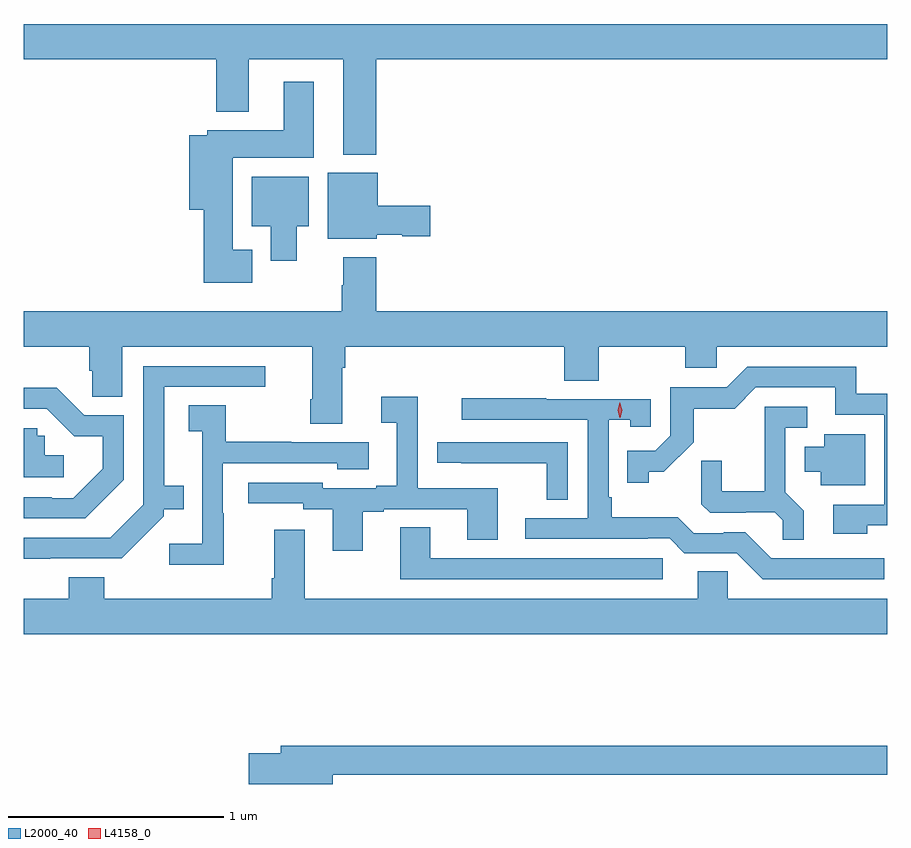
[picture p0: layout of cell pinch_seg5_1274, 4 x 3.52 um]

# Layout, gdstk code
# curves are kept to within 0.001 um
import gdstk
lib = gdstk.Library(unit=1e-6, precision=1e-09)
def P(c, l, *ps):  # polygons
    for p in ps: c.add(gdstk.Polygon(p, *l))
L2000_40 = (2000, 40)
L4158_0 = (4158, 0)

pinch_seg5_1274 = lib.new_cell('pinch_seg5_1274')
P(pinch_seg5_1274, L2000_40, [(371.72,866.084),(374.088,866.084),(374.088,866.248),(370.088,866.248),(370.088,866.084),(370.979,866.084),(370.979,865.841),(371.131,865.841),(371.131,866.084),(371.567,866.084),(371.567,865.643),(371.72,865.643)],
  [(371.146,865.201),(371.056,865.201),(371.056,865.628),(371.431,865.628),(371.431,865.981),(371.291,865.981),(371.291,865.756),(370.938,865.756),(370.938,865.732),(370.853,865.732),(370.853,865.388),(370.922,865.388),(370.922,865.049),(371.146,865.049)],
  [(371.724,865.271),(371.841,865.271),(371.841,865.264),(371.971,865.264),(371.971,865.406),(371.728,865.406),(371.728,865.558),(371.495,865.558),(371.495,865.253),(371.724,865.253)],
  [(371.353,865.31),(371.407,865.31),(371.407,865.54),(371.144,865.54),(371.144,865.31),(371.231,865.31),(371.231,865.152),(371.353,865.152)],
  [(371.563,864.656),(371.576,864.656),(371.576,864.752),(372.593,864.752),(372.593,864.595),(372.753,864.595),(372.753,864.752),(373.153,864.752),(373.153,864.654),(373.299,864.654),(373.299,864.752),(374.088,864.752),(374.088,864.916),(371.72,864.916),(371.72,865.168),(371.567,865.168),(371.567,865.037),(371.56,865.037),(371.56,864.916),(370.088,864.916),(370.088,864.752),(370.391,864.752),(370.391,864.642),(370.405,864.642),(370.405,864.52),(370.543,864.52),(370.543,864.752),(371.423,864.752),(371.423,864.508),(371.416,864.508),(371.416,864.396),(371.563,864.396)],
  [(370.211,863.772),(370.542,863.772),(370.737,863.967),(370.737,863.999),(370.829,863.999),(370.829,864.109),(370.738,864.109),(370.738,864.567),(371.206,864.567),(371.206,864.663),(370.641,864.663),(370.641,864.021),(370.488,863.868),(370.088,863.868),(370.088,863.771)],
  [(373.995,863.925),(374.088,863.925),(374.088,864.534),(373.946,864.534),(373.946,864.66),(373.44,864.66),(373.344,864.564),(373.083,864.564),(373.083,864.339),(373.014,864.27),(372.883,864.27),(372.883,864.123),(372.984,864.123),(372.984,864.173),(373.054,864.173),(373.192,864.31),(373.192,864.466),(373.381,864.466),(373.479,864.564),(373.847,864.564),(373.847,864.438),(374.076,864.438),(374.076,864.021),(373.839,864.021),(373.839,863.885),(373.995,863.885)],
  [(370.551,864.137),(370.551,864.435),(370.368,864.435),(370.24,864.563),(370.088,864.563),(370.088,864.465),(370.194,864.465),(370.321,864.338),(370.454,864.338),(370.454,864.188),(370.317,864.051),(370.217,864.051),(370.217,864.054),(370.088,864.054),(370.088,863.958),(370.372,863.958)],
  [(371.659,863.988),(371.755,863.988),(371.755,864),(372.143,864),(372.143,863.857),(372.283,863.857),(372.283,864.096),(371.913,864.096),(371.913,864.52),(371.745,864.52),(371.745,864.4),(371.816,864.4),(371.816,864.109),(371.72,864.109),(371.72,864.096),(371.472,864.096),(371.472,864.123),(371.127,864.123),(371.127,864.027),(371.382,864.027),(371.382,864),(371.519,864),(371.519,863.808),(371.659,863.808)],
  [(374.074,863.772),(373.551,863.772),(373.431,863.892),(373.33,863.892),(373.33,863.889),(373.191,863.889),(373.118,863.962),(372.811,863.962),(372.811,864.055),(372.798,864.055),(372.798,864.413),(372.897,864.413),(372.897,864.381),(372.993,864.381),(372.993,864.51),(372.509,864.51),(372.509,864.513),(372.117,864.513),(372.117,864.414),(372.702,864.414),(372.702,863.958),(372.411,863.958),(372.411,863.862),(372.98,863.862),(372.98,863.865),(373.08,863.865),(373.149,863.796),(373.392,863.796),(373.512,863.676),(374.074,863.676)],
  [(371.013,863.981),(371.01,863.981),(371.01,864.213),(371.541,864.213),(371.541,864.185),(371.686,864.185),(371.686,864.309),(371.327,864.309),(371.327,864.312),(371.023,864.312),(371.023,864.482),(370.851,864.482),(370.851,864.361),(370.914,864.361),(370.914,863.839),(370.761,863.839),(370.761,863.741),(371.013,863.741)],
  [(373.703,863.993),(373.617,864.079),(373.617,864.378),(373.717,864.378),(373.717,864.474),(373.52,864.474),(373.52,864.082),(373.322,864.082),(373.322,864.225),(373.228,864.225),(373.228,864.023),(373.269,863.982),(373.434,863.982),(373.434,863.985),(373.568,863.985),(373.605,863.948),(373.605,863.857),(373.703,863.857)],
  [(370.273,864.25),(370.185,864.25),(370.185,864.339),(370.149,864.339),(370.149,864.375),(370.088,864.375),(370.088,864.147),(370.273,864.147)],
  [(373.987,864.346),(373.796,864.346),(373.796,864.289),(373.706,864.289),(373.706,864.173),(373.781,864.173),(373.781,864.11),(373.987,864.11)],
  [(372.609,864.309),(372.003,864.309),(372.003,864.214),(372.115,864.214),(372.115,864.213),(372.511,864.213),(372.511,864.043),(372.609,864.043)],
  [(373.048,863.772),(371.971,863.772),(371.971,863.915),(371.831,863.915),(371.831,863.676),(373.048,863.676)],
  [(374.088,863.584),(373.35,863.584),(373.35,863.711),(373.211,863.711),(373.211,863.584),(371.389,863.584),(371.389,863.905),(371.249,863.905),(371.249,863.68),(371.237,863.68),(371.237,863.584),(370.46,863.584),(370.46,863.683),(370.295,863.683),(370.295,863.584),(370.088,863.584),(370.088,863.42),(374.088,863.42)],
  [(371.518,862.768),(374.088,862.768),(374.088,862.904),(371.279,862.904),(371.279,862.868),(371.13,862.868),(371.13,862.726),(371.518,862.726)])
P(pinch_seg5_1274, L4158_0, [(372.85,864.423),(372.84,864.458),(372.849,864.495),(372.849,864.495),(372.849,864.495),(372.86,864.459),(372.851,864.423),(372.851,864.423)])

lib.write_gds('pinch_seg5_1274.gds')
